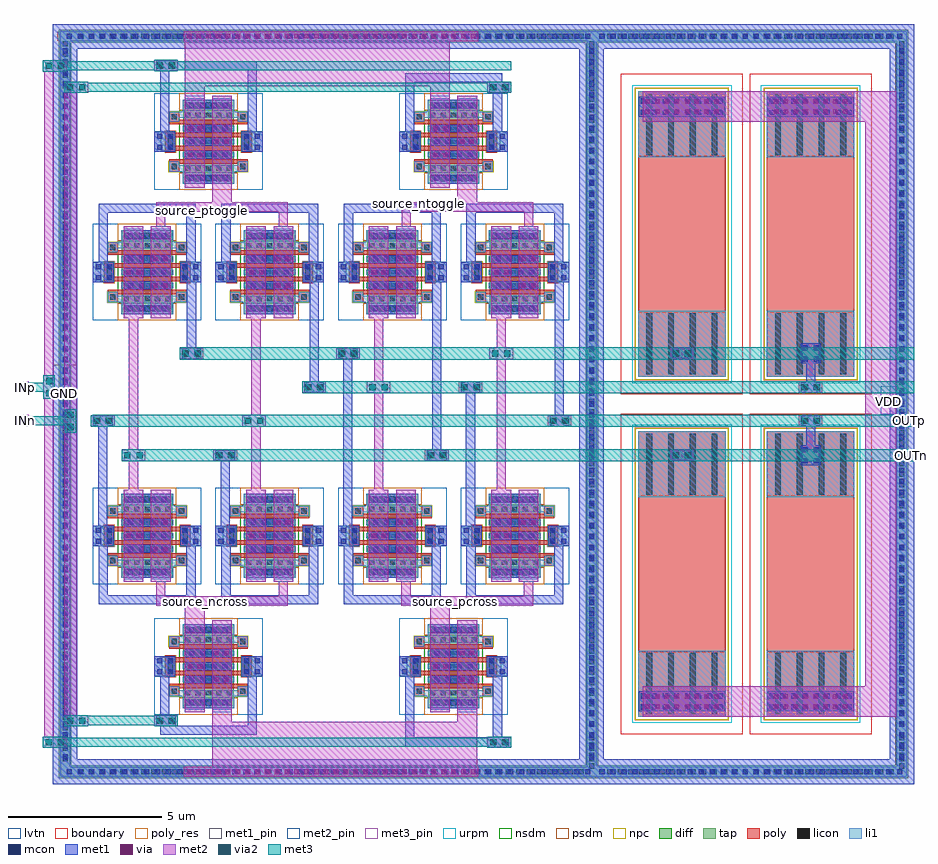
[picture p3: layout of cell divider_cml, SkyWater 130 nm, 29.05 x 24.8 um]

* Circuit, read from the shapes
.subckt divider_cml GND INn INp OUTn OUTp VDD source_ncross source_ntoggle source_pcross source_ptoggle
XM1 source_ncross GND GND GND sky130_fd_pr__nfet_01v8_lvt w=1.65 l=0.15 m=4
XM2 OUTn OUTp source_ncross GND sky130_fd_pr__nfet_01v8_lvt w=1.65 l=0.15 m=2
XM3 source_ptoggle GND GND GND sky130_fd_pr__nfet_01v8_lvt w=1.65 l=0.15 m=4
XM4 OUTn rf_nfet_01v8_lvt_cM02W1p65L0p15_17_0/DRAIN source_ptoggle GND sky130_fd_pr__nfet_01v8_lvt w=1.65 l=0.15 m=2
XM5 GND GND GND GND sky130_fd_pr__nfet_01v8_lvt w=1.65 l=0.15 m=8
XM6 source_ncross INn GND GND sky130_fd_pr__nfet_01v8_lvt w=1.65 l=0.15 m=2
XM7 source_ptoggle INp GND GND sky130_fd_pr__nfet_01v8_lvt w=1.65 l=0.15 m=2
XM8 OUTp OUTn source_ncross GND sky130_fd_pr__nfet_01v8_lvt w=1.65 l=0.15 m=2
XM9 OUTp rf_nfet_01v8_lvt_cM02W1p65L0p15_17_1/DRAIN source_ptoggle GND sky130_fd_pr__nfet_01v8_lvt w=1.65 l=0.15 m=2
XM10 source_pcross GND GND GND sky130_fd_pr__nfet_01v8_lvt w=1.65 l=0.15 m=4
XM11 rf_nfet_01v8_lvt_cM02W1p65L0p15_17_1/DRAIN rf_nfet_01v8_lvt_cM02W1p65L0p15_17_0/DRAIN source_pcross GND sky130_fd_pr__nfet_01v8_lvt w=1.65 l=0.15 m=2
XM12 source_ntoggle GND GND GND sky130_fd_pr__nfet_01v8_lvt w=1.65 l=0.15 m=4
XM13 rf_nfet_01v8_lvt_cM02W1p65L0p15_17_1/DRAIN OUTn source_ntoggle GND sky130_fd_pr__nfet_01v8_lvt w=1.65 l=0.15 m=2
XM14 source_pcross INp GND GND sky130_fd_pr__nfet_01v8_lvt w=1.65 l=0.15 m=2
XM15 source_ntoggle INn GND GND sky130_fd_pr__nfet_01v8_lvt w=1.65 l=0.15 m=2
XM16 rf_nfet_01v8_lvt_cM02W1p65L0p15_17_0/DRAIN rf_nfet_01v8_lvt_cM02W1p65L0p15_17_1/DRAIN source_pcross GND sky130_fd_pr__nfet_01v8_lvt w=1.65 l=0.15 m=2
XM17 rf_nfet_01v8_lvt_cM02W1p65L0p15_17_0/DRAIN OUTp source_ntoggle GND sky130_fd_pr__nfet_01v8_lvt w=1.65 l=0.15 m=2
XR18 OUTn VDD GND sky130_fd_pr__res_xhigh_po w=2.85 l=5
XR19 VDD rf_nfet_01v8_lvt_cM02W1p65L0p15_17_0/DRAIN GND sky130_fd_pr__res_xhigh_po w=2.85 l=5
XR20 OUTp VDD GND sky130_fd_pr__res_xhigh_po w=2.85 l=5
XR21 VDD rf_nfet_01v8_lvt_cM02W1p65L0p15_17_1/DRAIN GND sky130_fd_pr__res_xhigh_po w=2.85 l=5
.ends

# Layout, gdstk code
from math import pi, radians
import gdstk
lib = gdstk.Library(unit=1e-6, precision=5e-09)
def R(c, l, rs):  # rectangles x0, y0, x1, y1
    for r in rs: c.add(gdstk.rectangle(r[:2], r[2:], *l))
def A(c, l, x, y, w, h, nx, ny, dx, dy):  # array of equal rectangles
    R(c, l, [(x+i*dx, y+j*dy, x+i*dx+w, y+j*dy+h) for i in range(nx) for j in range(ny)])
def P(c, l, *ps):  # polygons
    for p in ps: c.add(gdstk.Polygon(p, *l))
diff = (65, 20)
tap = (65, 44)
poly_res = (66, 13)
poly = (66, 20)
licon = (66, 44)
li1 = (67, 20)
mcon = (67, 44)
met1_pin = (68, 16)
met1 = (68, 20)
via = (68, 44)
met2_pin = (69, 16)
met2 = (69, 20)
via2 = (69, 44)
met3_pin = (70, 16)
met3 = (70, 20)
urpm = (79, 20)
nsdm = (93, 44)
psdm = (94, 20)
npc = (95, 20)
lvtn = (125, 44)
boundary = (235, 4)

contact_9 = lib.new_cell('contact$9')
R(contact_9, met1, [(-0.32,-0.16,0.32,0.16)])
R(contact_9, via, [(-0.235,-0.075,-0.085,0.075), (0.085,-0.075,0.235,0.075)])
R(contact_9, met2, [(-0.32,-0.16,0.32,0.16)])

contact_8 = lib.new_cell('contact$8')
R(contact_8, met2, [(-0.385,-0.185,0.385,0.185)])
R(contact_8, via2, [(-0.3,-0.1,-0.1,0.1), (0.1,-0.1,0.3,0.1)])
R(contact_8, met3, [(-0.385,-0.185,0.385,0.185)])

rf_nfet_01v8_lvt_cm02w1p = lib.new_cell('rf_nfet_01v8_lvt_cM02W1p65L0p15')
R(rf_nfet_01v8_lvt_cm02w1p, diff, [(0.555,0.945,2.595,2.595)])
R(rf_nfet_01v8_lvt_cm02w1p, tap, [(0.205,0.945,0.555,2.595), (2.595,0.945,2.945,2.595)])
R(rf_nfet_01v8_lvt_cm02w1p, poly, [(0.6,0.485,0.93,0.815), (0.855,0.485,1.005,3.055), (2.145,0.485,2.295,3.055), (2.22,0.485,2.55,0.815), (0.6,2.725,0.93,3.055), (2.22,2.725,2.55,3.055)])
P(rf_nfet_01v8_lvt_cm02w1p, poly, [(1.215,0.365),(1.215,0.695),(1.285,0.695),(1.285,2.845),(1.215,2.845),(1.215,3.175),(1.715,3.175),(1.715,2.845),(1.435,2.845),(1.435,0.695),(1.715,0.695),(1.715,3.175),(1.935,3.175),(1.935,2.845),(1.865,2.845),(1.865,0.695),(1.935,0.695),(1.935,0.365)])
A(rf_nfet_01v8_lvt_cm02w1p, licon, 0.29, 1.005, 0.17, 0.17, 1, 5, 0, 0.34)
A(rf_nfet_01v8_lvt_cm02w1p, licon, 0.63, 1.005, 0.17, 0.17, 1, 5, 0, 0.34)
A(rf_nfet_01v8_lvt_cm02w1p, licon, 1.06, 1.005, 0.17, 1.53, 3, 1, 0.43, 0)
A(rf_nfet_01v8_lvt_cm02w1p, licon, 2.35, 1.005, 0.17, 0.17, 1, 5, 0, 0.34)
A(rf_nfet_01v8_lvt_cm02w1p, licon, 2.69, 1.005, 0.17, 0.17, 1, 5, 0, 0.34)
R(rf_nfet_01v8_lvt_cm02w1p, licon, [(1.32,0.445,1.83,0.615), (0.68,0.565,0.85,0.735), (2.3,0.565,2.47,0.735), (0.68,2.805,0.85,2.975), (2.3,2.805,2.47,2.975), (1.32,2.925,1.83,3.095)])
A(rf_nfet_01v8_lvt_cm02w1p, li1, 1.06, 0.925, 0.17, 1.69, 3, 1, 0.43, 0)
R(rf_nfet_01v8_lvt_cm02w1p, li1, [(1.24,0,1.91,0.695), (0.6,0.485,0.93,0.815), (2.22,0.485,2.55,0.815), (0.6,0.815,0.8,0.925), (2.35,0.815,2.55,0.925), (0.205,0.925,0.8,2.615), (2.35,0.925,2.945,2.615), (0.6,2.615,0.8,2.725), (2.35,2.615,2.55,2.725), (0.6,2.725,0.93,3.055), (2.22,2.725,2.55,3.055), (1.24,2.845,1.91,3.54)])
A(rf_nfet_01v8_lvt_cm02w1p, mcon, 0.3, 1.145, 0.17, 0.17, 1, 4, 0, 0.36)
A(rf_nfet_01v8_lvt_cm02w1p, mcon, 1.06, 1.145, 0.17, 0.17, 3, 4, 0.43, 0.36)
A(rf_nfet_01v8_lvt_cm02w1p, mcon, 2.68, 1.145, 0.17, 0.17, 1, 4, 0, 0.36)
R(rf_nfet_01v8_lvt_cm02w1p, mcon, [(1.31,0.095,1.48,0.265), (1.67,0.095,1.84,0.265), (1.31,0.455,1.48,0.625), (1.67,0.455,1.84,0.625), (1.31,2.915,1.48,3.085), (1.67,2.915,1.84,3.085), (1.31,3.275,1.48,3.445), (1.67,3.275,1.84,3.445)])
R(rf_nfet_01v8_lvt_cm02w1p, met1_pin, [(1.275,0.22,1.87,0.475), (0.205,1.695,0.435,1.845), (2.715,1.695,2.945,1.845), (1.275,3.04,1.87,3.295)])
A(rf_nfet_01v8_lvt_cm02w1p, met1, 1.015, 1.005, 0.26, 1.53, 3, 1, 0.43, 0)
R(rf_nfet_01v8_lvt_cm02w1p, met1, [(1.25,0,1.9,0.685), (0.205,1.005,0.5,2.535), (2.65,1.005,2.945,2.535), (1.25,2.855,1.9,3.54)])
R(rf_nfet_01v8_lvt_cm02w1p, via, [(1.07,1.09,1.22,1.24), (1.93,1.09,2.08,1.24), (1.07,1.41,1.22,1.56), (1.93,1.41,2.08,1.56), (1.5,1.98,1.65,2.13), (1.5,2.3,1.65,2.45)])
R(rf_nfet_01v8_lvt_cm02w1p, met2_pin, [(0.07,1.005,0.175,1.645), (0.07,1.895,0.175,2.535)])
R(rf_nfet_01v8_lvt_cm02w1p, met2, [(0.07,1.005,3.08,1.645), (0.07,1.895,3.08,2.535)])
R(rf_nfet_01v8_lvt_cm02w1p, nsdm, [(0.555,0.815,2.595,2.725)])
R(rf_nfet_01v8_lvt_cm02w1p, psdm, [(0,0.815,0.555,2.725), (2.595,0.815,3.15,2.725)])
R(rf_nfet_01v8_lvt_cm02w1p, npc, [(1.22,0.345,1.93,0.715), (0.58,0.465,0.95,0.835), (2.2,0.465,2.57,0.835), (0.58,2.705,0.95,3.075), (2.2,2.705,2.57,3.075), (1.22,2.825,1.93,3.195)])
R(rf_nfet_01v8_lvt_cm02w1p, lvtn, [(0,0,3.15,3.54)])
rf_nfet_01v8_lvt_cm02w1p.add(gdstk.Label('SUBSTRATE', (2.825,1.775), layer=68, texttype=16))
rf_nfet_01v8_lvt_cm02w1p.add(gdstk.Label('SUBSTRATE', (0.315,1.775), layer=68, texttype=16))
rf_nfet_01v8_lvt_cm02w1p.add(gdstk.Label('GATE', (1.56,3.175), layer=68, texttype=5))
rf_nfet_01v8_lvt_cm02w1p.add(gdstk.Label('GATE', (1.585,0.345), layer=68, texttype=5))
rf_nfet_01v8_lvt_cm02w1p.add(gdstk.Label('dummy_poly', (0.915,1.765), layer=83, texttype=44))
rf_nfet_01v8_lvt_cm02w1p.add(gdstk.Label('dummy_poly', (2.205,1.755), layer=83, texttype=44))
rf_nfet_01v8_lvt_cm02w1p.add(gdstk.Label('SOURCE', (0.175,1.325), layer=69, texttype=5))
rf_nfet_01v8_lvt_cm02w1p.add(gdstk.Label('DRAIN', (0.175,2.215), layer=69, texttype=5))
rf_nfet_01v8_lvt_cm02w1p.add(gdstk.Label('model_use_only', (1.79,1.77), layer=66, texttype=83))
rf_nfet_01v8_lvt_cm02w1p.add(gdstk.Label('model_use_only', (1.36,1.77), layer=66, texttype=83))
rf_nfet_01v8_lvt_cm02w1p.add(gdstk.Label('model_use_only', (0.905,1.77), layer=66, texttype=83))
rf_nfet_01v8_lvt_cm02w1p.add(gdstk.Label('model_use_only', (2.205,1.77), layer=66, texttype=83))

contact_3 = lib.new_cell('contact$3')
R(contact_3, li1, [(-8.625,-0.165,8.625,0.165)])
A(contact_3, mcon, -8.545, -0.085, 0.17, 0.17, 48, 1, 0.36, 0)
R(contact_3, met1, [(-8.605,-0.145,8.605,0.145)])

contact_21 = lib.new_cell('contact$21')
R(contact_21, li1, [(-0.165,-11.685,0.165,11.685)])
A(contact_21, mcon, -0.085, -11.605, 0.17, 0.17, 1, 65, 0, 0.36)
R(contact_21, met1, [(-0.145,-11.665,0.145,11.665)])

contact_4 = lib.new_cell('contact$4')
R(contact_4, met1, [(-4.8,-0.16,4.8,0.16)])
A(contact_4, via, -4.715, -0.075, 0.15, 0.15, 30, 1, 0.32, 0)
R(contact_4, met2, [(-4.8,-0.16,4.8,0.16)])

contact_18 = lib.new_cell('contact$18')
R(contact_18, li1, [(-5.025,-0.165,5.025,0.165)])
A(contact_18, mcon, -4.945, -0.085, 0.17, 0.17, 28, 1, 0.36, 0)
R(contact_18, met1, [(-5.005,-0.145,5.005,0.145)])

sky130_fd_pr__res_xhigh_ = lib.new_cell('sky130_fd_pr__res_xhigh_po_2p85_u0pqpv')
R(sky130_fd_pr__res_xhigh_, poly_res, [(-1.425,-2.56,1.425,2.56)])
R(sky130_fd_pr__res_xhigh_, poly, [(-1.425,-4.66,1.425,4.66)])
A(sky130_fd_pr__res_xhigh_, licon, -1.16, -4.58, 0.19, 2, 4, 2, 0.71, 7.16)
R(sky130_fd_pr__res_xhigh_, li1, [(-1.425,-4.66,1.425,-2.5), (-1.425,2.5,1.425,4.66)])
R(sky130_fd_pr__res_xhigh_, urpm, [(-1.625,-4.86,1.625,4.86)])
R(sky130_fd_pr__res_xhigh_, psdm, [(-1.535,-4.77,1.535,4.77)])
R(sky130_fd_pr__res_xhigh_, npc, [(-1.52,-4.755,1.52,4.755)])
R(sky130_fd_pr__res_xhigh_, boundary, [(-1.99,-5.225,1.99,5.225)])

contact_16 = lib.new_cell('contact$16')
R(contact_16, li1, [(-1.425,-0.345,1.425,0.345)])
A(contact_16, mcon, -1.345, -0.265, 0.17, 0.17, 8, 2, 0.36, 0.36)
R(contact_16, met1, [(-1.405,-0.325,1.405,0.325)])

contact_2 = lib.new_cell('contact$2')
R(contact_2, li1, [(-0.345,-0.345,0.345,0.345)])
R(contact_2, mcon, [(-0.265,-0.265,-0.095,-0.095), (0.095,-0.265,0.265,-0.095), (-0.265,0.095,-0.095,0.265), (0.095,0.095,0.265,0.265)])
R(contact_2, met1, [(-0.325,-0.325,0.325,0.325)])

contact_13 = lib.new_cell('contact$13')
R(contact_13, li1, [(-0.345,-0.165,0.345,0.165)])
R(contact_13, mcon, [(-0.265,-0.085,-0.095,0.085), (0.095,-0.085,0.265,0.085)])
R(contact_13, met1, [(-0.325,-0.145,0.325,0.145)])

contact_19 = lib.new_cell('contact$19')
R(contact_19, met1, [(-1.28,-0.32,1.28,0.32)])
A(contact_19, via, -1.195, -0.235, 0.15, 0.15, 8, 2, 0.32, 0.32)
R(contact_19, met2, [(-1.28,-0.32,1.28,0.32)])

divider_cml = lib.new_cell('divider_cml')
A(divider_cml, licon, 1.78, 0.315, 0.17, 0.17, 49, 2, 0.34, 24)
A(divider_cml, licon, 19.035, 0.315, 0.17, 0.17, 28, 2, 0.34, 24)
A(divider_cml, licon, 1.26, 0.74, 0.17, 0.17, 1, 14, 0, 0.34)
A(divider_cml, licon, 18.445, 1.525, 0.17, 0.17, 1, 64, 0, 0.34)
A(divider_cml, licon, 28.56, 1.525, 0.17, 0.17, 1, 64, 0, 0.34)
A(divider_cml, licon, 1.26, 6.285, 0.17, 0.17, 1, 38, 0, 0.34)
A(divider_cml, licon, 1.26, 19.99, 0.17, 0.17, 1, 13, 0, 0.34)
R(divider_cml, licon, [(18.445,0.505,18.615,0.675), (28.56,0.505,28.73,0.675), (18.445,0.74,18.615,0.91), (28.56,0.74,28.73,0.91), (18.445,0.845,18.615,1.015), (28.56,0.845,28.73,1.015), (18.445,1.08,18.615,1.25), (28.56,1.08,28.73,1.25), (18.445,1.185,18.615,1.355), (28.56,1.185,28.73,1.355), (18.445,1.42,18.615,1.59), (28.56,1.42,28.73,1.59), (1.26,5.265,1.43,5.435), (1.26,5.5,1.43,5.67), (1.26,5.605,1.43,5.775), (1.26,5.84,1.43,6.01), (1.26,5.945,1.43,6.115), (1.26,6.18,1.43,6.35), (1.26,18.97,1.43,19.14), (1.26,19.205,1.43,19.375), (1.26,19.31,1.43,19.48), (1.26,19.545,1.43,19.715), (1.26,19.65,1.43,19.82), (1.26,19.885,1.43,20.055), (18.445,23.05,18.615,23.22), (28.56,23.05,28.73,23.22), (18.445,23.285,18.615,23.455), (28.56,23.285,28.73,23.455), (18.445,23.39,18.615,23.56), (28.56,23.39,28.73,23.56), (18.445,23.625,18.615,23.795), (28.56,23.625,28.73,23.795), (18.445,23.73,18.615,23.9), (28.56,23.73,28.73,23.9), (18.445,23.965,18.615,24.135), (28.56,23.965,28.73,24.135), (18.445,24.07,18.615,24.24), (28.56,24.07,28.73,24.24)])
R(divider_cml, li1, [(1.18,0.235,1.51,0.71), (18.365,0.235,18.695,0.71), (28.48,0.235,28.81,0.71), (1.18,24.09,1.51,24.565), (18.365,24.09,18.695,24.565), (28.48,24.09,28.81,24.565)])
R(divider_cml, met1_pin, [(0.935,11.895,1.735,13.675)])
R(divider_cml, met2_pin, [(27.96,12.06,28.46,12.985)])
R(divider_cml, met2, [(6.145,0.56,14.785,1.395), (5.255,23.405,13.895,24.245)])
R(divider_cml, met3_pin, [(0,11.65,0.16,12.05), (0,12.75,0.16,13.15)])
divider_cml.add(gdstk.FlexPath([(18.6,0.4),(28.645,0.4),(28.645,24.4),(11.575,24.4)], 0.17, ends="flush", simple_path=True, layer=67, datatype=20))  # li1
divider_cml.add(gdstk.FlexPath([(1.345,24.485),(1.345,0.4),(18.53,0.4),(18.53,24.4),(1.295,24.4)], 0.17, ends="flush", simple_path=True, layer=67, datatype=20))  # li1
divider_cml.add(gdstk.FlexPath([(2.57,8.425),(2.57,12.01)], 0.3, ends="flush", simple_path=True, layer=68, datatype=20))  # met1
divider_cml.add(gdstk.FlexPath([(12.59,3.515),(12.59,1.37),(15.45,1.37),(15.45,3.515)], 0.3, ends="flush", simple_path=True, layer=68, datatype=20))  # met1
divider_cml.add(gdstk.FlexPath([(4.59,3.515),(4.59,1.755),(7.45,1.755),(7.45,3.515)], 0.3, ends="flush", simple_path=True, layer=68, datatype=20))  # met1
divider_cml.add(gdstk.FlexPath([(2.59,7.775),(2.59,6.015),(5.45,6.015),(5.45,7.775)], 0.3, ends="flush", simple_path=True, layer=68, datatype=20))  # met1
divider_cml.add(gdstk.FlexPath([(6.59,7.775),(6.59,6.015),(9.45,6.015),(9.45,7.775)], 0.3, ends="flush", simple_path=True, layer=68, datatype=20))  # met1
divider_cml.add(gdstk.FlexPath([(10.59,7.775),(10.59,6.015),(13.45,6.015),(13.45,7.775)], 0.3, ends="flush", simple_path=True, layer=68, datatype=20))  # met1
divider_cml.add(gdstk.FlexPath([(14.59,7.775),(14.59,6.015),(17.45,6.015),(17.45,7.775)], 0.3, ends="flush", simple_path=True, layer=68, datatype=20))  # met1
divider_cml.add(gdstk.FlexPath([(7.45,21.285),(7.45,23.44),(4.59,23.44),(4.59,21.285)], 0.3, ends="flush", simple_path=True, layer=68, datatype=20))  # met1
divider_cml.add(gdstk.FlexPath([(15.45,21.285),(15.45,23.045),(12.59,23.045),(12.59,21.285)], 0.3, ends="flush", simple_path=True, layer=68, datatype=20))  # met1
divider_cml.add(gdstk.FlexPath([(5.45,17.025),(5.45,18.785),(2.59,18.785),(2.59,17.025)], 0.3, ends="flush", simple_path=True, layer=68, datatype=20))  # met1
divider_cml.add(gdstk.FlexPath([(9.45,17.025),(9.45,18.785),(6.59,18.785),(6.59,17.025)], 0.3, ends="flush", simple_path=True, layer=68, datatype=20))  # met1
divider_cml.add(gdstk.FlexPath([(13.45,17.025),(13.45,18.785),(10.59,18.785),(10.59,17.025)], 0.3, ends="flush", simple_path=True, layer=68, datatype=20))  # met1
divider_cml.add(gdstk.FlexPath([(17.45,17.025),(17.45,18.785),(14.59,18.785),(14.59,17.025)], 0.3, ends="flush", simple_path=True, layer=68, datatype=20))  # met1
divider_cml.add(gdstk.FlexPath([(25.67,10.405),(25.67,12.005)], 0.3, ends="flush", simple_path=True, layer=68, datatype=20))  # met1
divider_cml.add(gdstk.FlexPath([(25.67,12.765),(25.67,14.375)], 0.3, ends="flush", simple_path=True, layer=68, datatype=20))  # met1
divider_cml.add(gdstk.FlexPath([(5.47,13.865),(5.47,16.375)], 0.3, ends="flush", simple_path=True, layer=68, datatype=20))  # met1
divider_cml.add(gdstk.FlexPath([(6.57,8.425),(6.57,10.88)], 0.3, ends="flush", simple_path=True, layer=68, datatype=20))  # met1
divider_cml.add(gdstk.FlexPath([(9.47,12.815),(9.47,16.375)], 0.3, ends="flush", simple_path=True, layer=68, datatype=20))  # met1
divider_cml.add(gdstk.FlexPath([(10.57,8.425),(10.57,14.23)], 0.3, ends="flush", simple_path=True, layer=68, datatype=20))  # met1
divider_cml.add(gdstk.FlexPath([(13.47,10.555),(13.47,16.375)], 0.3, ends="flush", simple_path=True, layer=68, datatype=20))  # met1
divider_cml.add(gdstk.FlexPath([(14.57,8.425),(14.57,13.135)], 0.3, ends="flush", simple_path=True, layer=68, datatype=20))  # met1
divider_cml.add(gdstk.FlexPath([(17.47,11.665),(17.47,16.375)], 0.3, ends="flush", simple_path=True, layer=68, datatype=20))  # met1
divider_cml.add(gdstk.FlexPath([(18.005,24.4),(28.645,24.4),(28.645,0.4),(18.925,0.4)], 0.8, ends="flush", simple_path=True, layer=68, datatype=20))  # met1
divider_cml.add(gdstk.FlexPath([(14.815,0.4),(1.335,0.4),(1.335,24.4),(18.525,24.4),(18.525,0.4),(14.815,0.4)], 0.8, ends="flush", simple_path=True, layer=68, datatype=20))  # met1
divider_cml.add(gdstk.FlexPath([(0.82,23.62),(0.82,1.18)], 0.3, ends="flush", simple_path=True, layer=69, datatype=20))  # met2
divider_cml.add(gdstk.FlexPath([(4.465,6.595),(4.465,5.97),(8.465,5.97),(8.465,6.595)], 0.3, ends="flush", simple_path=True, layer=69, datatype=20))  # met2
divider_cml.add(gdstk.FlexPath([(12.465,6.595),(12.465,5.97),(16.465,5.97),(16.465,6.595)], 0.3, ends="flush", simple_path=True, layer=69, datatype=20))  # met2
divider_cml.add(gdstk.FlexPath([(5.575,5.345),(5.575,5.82)], 0.64, ends="flush", simple_path=True, layer=69, datatype=20))  # met2
divider_cml.add(gdstk.FlexPath([(13.575,5.345),(13.575,5.82)], 0.64, ends="flush", simple_path=True, layer=69, datatype=20))  # met2
divider_cml.add(gdstk.FlexPath([(8.465,18.205),(8.465,18.83),(4.465,18.83),(4.465,18.205)], 0.3, ends="flush", simple_path=True, layer=69, datatype=20))  # met2
divider_cml.add(gdstk.FlexPath([(16.475,18.205),(16.475,18.83),(12.475,18.83),(12.475,18.205)], 0.3, ends="flush", simple_path=True, layer=69, datatype=20))  # met2
divider_cml.add(gdstk.FlexPath([(6.465,19.455),(6.465,18.98)], 0.64, ends="flush", simple_path=True, layer=69, datatype=20))  # met2
divider_cml.add(gdstk.FlexPath([(14.465,19.455),(14.465,18.98)], 0.64, ends="flush", simple_path=True, layer=69, datatype=20))  # met2
divider_cml.add(gdstk.FlexPath([(3.575,9.605),(3.575,15.195)], 0.3, ends="flush", simple_path=True, layer=69, datatype=20))  # met2
divider_cml.add(gdstk.FlexPath([(7.575,9.605),(7.575,15.195)], 0.3, ends="flush", simple_path=True, layer=69, datatype=20))  # met2
divider_cml.add(gdstk.FlexPath([(11.575,9.605),(11.575,15.195)], 0.3, ends="flush", simple_path=True, layer=69, datatype=20))  # met2
divider_cml.add(gdstk.FlexPath([(15.575,9.605),(15.575,15.195)], 0.3, ends="flush", simple_path=True, layer=69, datatype=20))  # met2
divider_cml.add(gdstk.FlexPath([(20.19,22.105),(27.96,22.105),(27.96,2.695),(20.19,2.695)], 1, ends="flush", simple_path=True, layer=69, datatype=20))  # met2
divider_cml.add(gdstk.FlexPath([(6.465,2.34),(6.465,1.715),(14.465,1.715),(14.465,2.34)], 0.64, ends="flush", simple_path=True, layer=69, datatype=20))  # met2
divider_cml.add(gdstk.FlexPath([(13.575,22.46),(13.575,23.085),(5.575,23.085),(5.575,22.46)], 0.64, ends="flush", simple_path=True, layer=69, datatype=20))  # met2
divider_cml.add(gdstk.FlexPath([(1.52,22.92),(1.52,1.88)], 0.4, ends="flush", simple_path=True, layer=69, datatype=20))  # met2
divider_cml.add(gdstk.FlexPath([(1.345,24.605),(1.345,0.395),(18.53,0.395),(18.53,24.4),(1.085,24.4)], 0.3, ends="flush", simple_path=True, layer=94, datatype=20))  # psdm
divider_cml.add(gdstk.FlexPath([(18.64,0.4),(28.645,0.4),(28.645,24.4),(18.405,24.4)], 0.42, ends="flush", simple_path=True, layer=94, datatype=20))  # psdm
divider_cml.add(gdstk.FlexPath([(9.085,12.95),(29.045,12.95)], 0.4, ends="flush", simple_path=True, layer=70, datatype=20))  # met3
divider_cml.add(gdstk.FlexPath([(5.085,14.05),(29.045,14.05)], 0.4, ends="flush", simple_path=True, layer=70, datatype=20))  # met3
divider_cml.add(gdstk.FlexPath([(2.25,11.85),(29.045,11.85)], 0.4, ends="flush", simple_path=True, layer=70, datatype=20))  # met3
divider_cml.add(gdstk.FlexPath([(3.19,10.73),(29.045,10.73)], 0.4, ends="flush", simple_path=True, layer=70, datatype=20))  # met3
divider_cml.add(gdstk.FlexPath([(5.015,2.07),(1.32,2.07)], 0.3, ends="flush", simple_path=True, layer=70, datatype=20))  # met3
divider_cml.add(gdstk.FlexPath([(15.895,22.735),(1.32,22.735)], 0.3, ends="flush", simple_path=True, layer=70, datatype=20))  # met3
divider_cml.add(gdstk.FlexPath([(15.9,23.435),(0.62,23.435)], 0.3, ends="flush", simple_path=True, layer=70, datatype=20))  # met3
divider_cml.add(gdstk.FlexPath([(15.895,1.365),(0.62,1.365)], 0.3, ends="flush", simple_path=True, layer=70, datatype=20))  # met3
divider_cml.add(gdstk.FlexPath([(1.335,11.85),(0,11.85)], 0.3, ends="flush", simple_path=True, layer=70, datatype=20))  # met3
divider_cml.add(gdstk.FlexPath([(0.635,12.95),(0,12.95)], 0.3, ends="flush", simple_path=True, layer=70, datatype=20))  # met3
divider_cml.add(gdstk.FlexPath([(1.345,24.605),(1.345,0.4),(18.53,0.4),(18.53,24.4),(1.35,24.4)], 0.41, ends="flush", simple_path=True, layer=65, datatype=44))  # tap
divider_cml.add(gdstk.FlexPath([(18.525,0.4),(28.645,0.4),(28.645,24.4),(17.37,24.4)], 0.41, ends="flush", simple_path=True, layer=65, datatype=44))  # tap
divider_cml.add(gdstk.Reference(contact_9, (6.57,10.73)))
divider_cml.add(gdstk.Reference(contact_8, (3.575,10.73)))
divider_cml.add(gdstk.Reference(contact_8, (11.575,12.95)))
r = gdstk.Reference(rf_nfet_01v8_lvt_cm02w1p, (15.79,2.265), rotation=pi/2); r.repetition = gdstk.Repetition(1, 2, v1=(0,0), v2=(-8,0)); divider_cml.add(r)
divider_cml.add(gdstk.Reference(contact_8, (7.51,11.85)))
divider_cml.add(gdstk.Reference(contact_9, (2.57,11.85)))
divider_cml.add(gdstk.Reference(contact_8, (5.47,14.05)))
r = gdstk.Reference(rf_nfet_01v8_lvt_cm02w1p, (4.25,22.535), rotation=3*pi/2); r.repetition = gdstk.Repetition(1, 2, v1=(0,0), v2=(8,0)); divider_cml.add(r)
divider_cml.add(gdstk.Reference(contact_8, (21.47,14.05), rotation=pi))
divider_cml.add(gdstk.Reference(contact_8, (21.47,10.73)))
divider_cml.add(gdstk.Reference(contact_8, (2.57,11.85)))
divider_cml.add(gdstk.Reference(contact_8, (6.57,10.73)))
divider_cml.add(gdstk.Reference(contact_9, (14.57,12.95)))
divider_cml.add(gdstk.Reference(contact_9, (10.57,14.05)))
divider_cml.add(gdstk.Reference(contact_8, (10.57,14.05)))
divider_cml.add(gdstk.Reference(contact_8, (14.57,12.95), rotation=pi))
divider_cml.add(gdstk.Reference(contact_8, (15.575,14.05)))
r = gdstk.Reference(rf_nfet_01v8_lvt_cm02w1p, (17.79,6.525), rotation=pi/2); r.repetition = gdstk.Repetition(1, 4, v1=(0,0), v2=(-4,0)); divider_cml.add(r)
divider_cml.add(gdstk.Reference(contact_3, (9.94,24.4)))
divider_cml.add(gdstk.Reference(contact_3, (9.94,0.4)))
divider_cml.add(gdstk.Reference(contact_21, (18.53,12.4)))
divider_cml.add(gdstk.Reference(contact_21, (1.345,12.4)))
divider_cml.add(gdstk.Reference(contact_4, (10.02,0.4)))
divider_cml.add(gdstk.Reference(contact_4, (10.02,24.405)))
divider_cml.add(gdstk.Reference(contact_8, (1.705,2.065)))
divider_cml.add(gdstk.Reference(contact_8, (1.005,1.365)))
divider_cml.add(gdstk.Reference(contact_8, (1.705,22.735)))
divider_cml.add(gdstk.Reference(contact_8, (1.005,23.435)))
divider_cml.add(gdstk.Reference(contact_8, (15.51,1.365)))
divider_cml.add(gdstk.Reference(contact_8, (4.63,2.065)))
divider_cml.add(gdstk.Reference(contact_8, (4.63,23.445)))
divider_cml.add(gdstk.Reference(contact_8, (15.51,22.735)))
divider_cml.add(gdstk.Reference(contact_9, (4.63,23.435)))
divider_cml.add(gdstk.Reference(contact_9, (15.51,22.735)))
divider_cml.add(gdstk.Reference(contact_9, (4.63,2.065)))
divider_cml.add(gdstk.Reference(contact_9, (15.51,1.365)))
divider_cml.add(gdstk.Reference(contact_8, (1.52,11.85), rotation=pi/2))
divider_cml.add(gdstk.Reference(contact_8, (0.82,12.95), rotation=pi/2))
divider_cml.add(gdstk.Reference(contact_18, (23.72,24.4)))
divider_cml.add(gdstk.Reference(contact_18, (23.72,0.4)))
divider_cml.add(gdstk.Reference(contact_21, (28.645,12.4)))
r = gdstk.Reference(sky130_fd_pr__res_xhigh_, (21.47,6.855)); r.repetition = gdstk.Repetition(2, 2, v1=(4.2,0), v2=(0,11.09)); divider_cml.add(r)
divider_cml.add(gdstk.Reference(contact_16, (25.67,2.695)))
divider_cml.add(gdstk.Reference(contact_16, (21.47,2.695)))
divider_cml.add(gdstk.Reference(contact_16, (25.67,22.105)))
divider_cml.add(gdstk.Reference(contact_9, (21.47,10.73)))
divider_cml.add(gdstk.Reference(contact_2, (25.67,14.05)))
divider_cml.add(gdstk.Reference(contact_13, (21.47,14.05)))
divider_cml.add(gdstk.Reference(contact_13, (21.47,10.73)))
divider_cml.add(gdstk.Reference(contact_9, (25.67,12.95)))
divider_cml.add(gdstk.Reference(contact_9, (21.47,14.05)))
divider_cml.add(gdstk.Reference(contact_2, (25.67,10.73)))
divider_cml.add(gdstk.Reference(contact_9, (25.67,11.85)))
divider_cml.add(gdstk.Reference(contact_8, (25.67,11.85)))
divider_cml.add(gdstk.Reference(contact_8, (25.67,12.95)))
divider_cml.add(gdstk.Reference(contact_16, (21.47,22.105)))
divider_cml.add(gdstk.Reference(contact_19, (21.47,22.105)))
divider_cml.add(gdstk.Reference(contact_19, (25.67,22.105)))
divider_cml.add(gdstk.Reference(contact_19, (21.47,2.695)))
divider_cml.add(gdstk.Reference(contact_19, (25.67,2.695)))
divider_cml.add(gdstk.Reference(contact_9, (5.47,14.05)))
divider_cml.add(gdstk.Reference(contact_8, (9.47,12.95)))
divider_cml.add(gdstk.Reference(contact_9, (9.47,12.95)))
divider_cml.add(gdstk.Reference(contact_8, (17.47,11.85)))
divider_cml.add(gdstk.Reference(contact_9, (17.47,11.85)))
divider_cml.add(gdstk.Reference(contact_8, (13.47,10.73)))
divider_cml.add(gdstk.Reference(contact_9, (13.47,10.73)))
r = gdstk.Reference(rf_nfet_01v8_lvt_cm02w1p, (17.79,18.275), rotation=3*pi/2, x_reflection=True); r.repetition = gdstk.Repetition(1, 4, v1=(0,0), v2=(-4,0)); divider_cml.add(r)
divider_cml.add(gdstk.Label('GND', (1.335,12.755), layer=68, texttype=5))
divider_cml.add(gdstk.Label('VDD', (28.22,12.47), layer=69, texttype=5))
divider_cml.add(gdstk.Label('source_ncross', (5.93,5.97), layer=69, texttype=16))
divider_cml.add(gdstk.Label('source_pcross', (14.095,5.97), layer=69, texttype=16))
divider_cml.add(gdstk.Label('source_ptoggle', (5.795,18.72), layer=69, texttype=16))
divider_cml.add(gdstk.Label('source_ntoggle', (12.875,18.93), layer=69, texttype=16))
divider_cml.add(gdstk.Label('OUTp', (28.905,11.85), layer=70, texttype=5))
divider_cml.add(gdstk.Label('OUTn', (28.975,10.73), layer=70, texttype=5))
divider_cml.add(gdstk.Label('INp', (0.055,12.95), layer=70, texttype=5))
divider_cml.add(gdstk.Label('INn', (0.055,11.85), layer=70, texttype=5))

lib.write_gds('divider_cml.gds')
